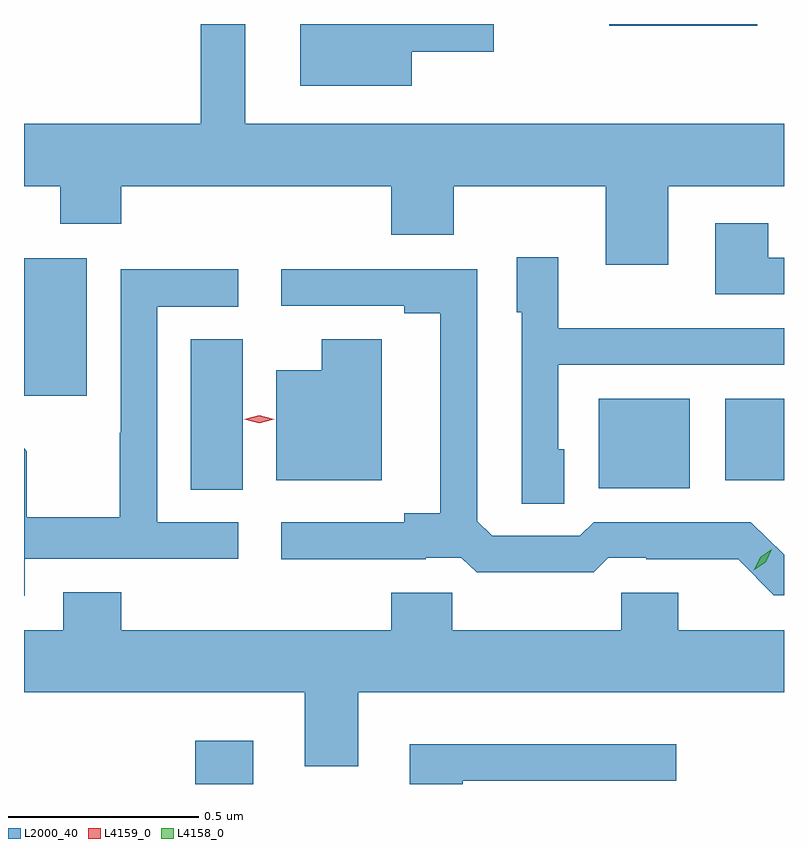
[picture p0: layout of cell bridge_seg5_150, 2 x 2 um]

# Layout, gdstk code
import gdstk
lib = gdstk.Library(unit=1e-6, precision=1e-09)
def R(c, l, rs):  # rectangles x0, y0, x1, y1
    for r in rs: c.add(gdstk.rectangle(r[:2], r[2:], *l))
def P(c, l, *ps):  # polygons
    for p in ps: c.add(gdstk.Polygon(p, *l))
L2000_40 = (2000, 40)
L4158_0 = (4158, 0)
L4159_0 = (4159, 0)

bridge_seg5_150 = lib.new_cell('bridge_seg5_150')
R(bridge_seg5_150, L2000_40, [(250.835,844.531,250.987,844.645), (250.823,845.305,250.96,845.702), (251.897,845.309,252.136,845.545), (252.23,845.33,252.384,845.545), (250.384,845.553,250.549,845.914), (251.924,846.527,252.313,846.531)])
P(bridge_seg5_150, L2000_40, [(252.079,846.104),(252.384,846.104),(252.384,846.268),(250.966,846.268),(250.966,846.531),(250.849,846.531),(250.849,846.268),(250.384,846.268),(250.384,846.104),(250.48,846.104),(250.48,846.005),(250.64,846.005),(250.64,846.104),(251.351,846.104),(251.351,845.976),(251.515,845.976),(251.515,846.104),(251.915,846.104),(251.915,845.898),(252.079,845.898)],
  [(251.404,846.458),(251.62,846.458),(251.62,846.531),(251.111,846.531),(251.111,846.368),(251.404,846.368)],
  [(252.384,845.916),(252.343,845.916),(252.343,846.007),(252.203,846.007),(252.203,845.82),(252.384,845.82)],
  [(251.806,845.412),(251.79,845.412),(251.79,845.634),(252.384,845.634),(252.384,845.73),(252.107,845.73),(252.107,845.731),(251.79,845.731),(251.79,845.917),(251.681,845.917),(251.681,845.772),(251.694,845.772),(251.694,845.269),(251.806,845.269)],
  [(250.386,845.124),(250.948,845.124),(250.948,845.22),(250.734,845.22),(250.734,845.787),(250.948,845.787),(250.948,845.886),(250.638,845.886),(250.638,845.456),(250.636,845.456),(250.636,845.233),(250.391,845.233),(250.391,845.407),(250.384,845.414),(250.384,845.027),(250.386,845.027)],
  [(252.384,845.134),(252.297,845.22),(251.883,845.22),(251.847,845.184),(251.616,845.184),(251.577,845.223),(251.577,845.886),(251.061,845.886),(251.061,845.79),(251.384,845.79),(251.384,845.77),(251.48,845.77),(251.48,845.243),(251.384,845.243),(251.384,845.22),(251.061,845.22),(251.061,845.123),(251.441,845.123),(251.441,845.127),(251.535,845.127),(251.575,845.088),(251.883,845.088),(251.922,845.127),(252.022,845.127),(252.022,845.123),(252.263,845.123),(252.357,845.028),(252.384,845.028)],
  [(251.326,845.701),(251.168,845.701),(251.168,845.62),(251.048,845.62),(251.048,845.33),(251.326,845.33)],
  [(251.263,844.772),(252.384,844.772),(252.384,844.936),(252.106,844.936),(252.106,845.034),(251.956,845.034),(251.956,844.936),(251.511,844.936),(251.511,845.034),(251.351,845.034),(251.351,844.936),(250.64,844.936),(250.64,845.035),(250.487,845.035),(250.487,844.936),(250.384,844.936),(250.384,844.772),(251.123,844.772),(251.123,844.578),(251.263,844.578)],
  [(251.539,844.539),(252.1,844.539),(252.1,844.636),(251.399,844.636),(251.399,844.531),(251.539,844.531)])
P(bridge_seg5_150, L4158_0, [(252.305,845.094),(252.305,845.094),(252.321,845.128),(252.352,845.149),(252.352,845.149),(252.352,845.149),(252.336,845.115),(252.305,845.094)])
P(bridge_seg5_150, L4159_0, [(251.003,845.481),(250.963,845.491),(250.963,845.491),(250.963,845.491),(251.003,845.501),(251.042,845.491),(251.042,845.491),(251.042,845.491)])

lib.write_gds('bridge_seg5_150.gds')
